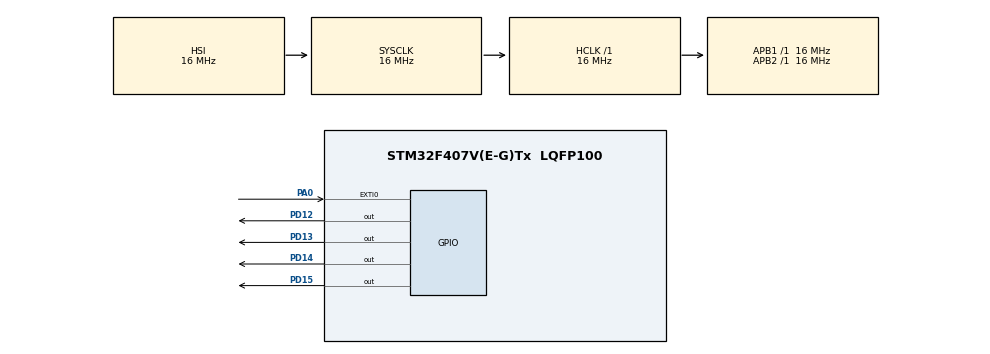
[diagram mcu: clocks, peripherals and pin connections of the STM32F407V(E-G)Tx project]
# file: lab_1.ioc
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Mcu.Family=STM32F4
PH0-OSC_IN.Signal=RCC_OSC_IN
RCC.CortexFreq_Value=16000000
ProjectManager.StackSize=0x400
PA0-WKUP.Signal=GPXTI0
PD13.Signal=GPIO_Output
ProjectManager.TargetToolchain=STM32CubeIDE
RCC.HCLKFreq_Value=16000000
RCC.APB2TimFreq_Value=16000000
RCC.LSE_VALUE=32768
RCC.AHBFreq_Value=16000000
PH0-OSC_IN.Mode=HSE-External-Oscillator
RCC.HSE_VALUE=25000000
board=custom
RCC.VCOOutputFreq_Value=192000000
RCC.APB2Freq_Value=16000000
PH1-OSC_OUT.Signal=RCC_OSC_OUT
Mcu.Name=STM32F407V(E-G)Tx
PD14.Signal=GPIO_Output
PH1-OSC_OUT.Mode=HSE-External-Oscillator
RCC.48MHZClocksFreq_Value=48000000
RCC.SYSCLKFreq_VALUE=16000000
Mcu.Package=LQFP100
PD12.Signal=GPIO_Output
ProjectManager.HeapSize=0x200
RCC.HSI_VALUE=16000000
NVIC.PriorityGroup=NVIC_PRIORITYGROUP_4
RCC.APB1TimFreq_Value=16000000
RCC.APB1Freq_Value=16000000
PD15.Signal=GPIO_Output

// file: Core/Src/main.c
/* USER CODE BEGIN Header */
/**
  ******************************************************************************
  * @file           : main.c
  * @brief          : Main program body
  ******************************************************************************
  * @attention
  *
  * <h2><center>&copy; Copyright (c) 2021 STMicroelectronics.
  * All rights reserved.</center></h2>
  *
  * This software component is licensed by ST under BSD 3-Clause license,
  * the "License"; You may not use this file except in compliance with the
  * License. You may obtain a copy of the License at:
  *                        opensource.org/licenses/BSD-3-Clause
  *
  ******************************************************************************
  */
/* USER CODE END Header */
#include "main.h"

/* USER CODE BEGIN PV */
int frequencyIndex = 0;
/* USER CODE END PV */

void SystemClock_Config(void);
static void MX_GPIO_Init(void);

/* USER CODE BEGIN 0 */

void switchFrequency(){
	if(frequencyIndex>1){
		frequencyIndex=0;
	}
	frequencyIndex++;
}

/* USER CODE END 0 */

int main(void)
{

  /* MCU Configuration--------------------------------------------------------*/

  /* Reset of all peripherals, Initializes the Flash interface and the Systick. */
  HAL_Init();

  /* Configure the system clock */
  SystemClock_Config();

  /* Initialize all configured peripherals */
  MX_GPIO_Init();
  /* USER CODE BEGIN 2 */
  int delays[2][4] = {
		  {1000,2000,3000,4000},
		  {4000,3000,2000,1000}
  };

  /* USER CODE END 2 */

  /* Infinite loop */
  /* USER CODE BEGIN WHILE */
  while (1)
  {
	  HAL_GPIO_TogglePin(GPIOD, GPIO_PIN_12);
	  HAL_Delay(delays[frequencyIndex][0]);
	  HAL_GPIO_TogglePin(GPIOD, GPIO_PIN_13);
	  HAL_Delay(delays[frequencyIndex][1]);
	  HAL_GPIO_TogglePin(GPIOD, GPIO_PIN_14);
	  HAL_Delay(delays[frequencyIndex][2]);
	  HAL_GPIO_TogglePin(GPIOD, GPIO_PIN_15);
	  HAL_Delay(delays[frequencyIndex][3]);
    /* USER CODE END WHILE */

  }
}

void SystemClock_Config(void)
{
  RCC_OscInitTypeDef RCC_OscInitStruct = {0};
  RCC_ClkInitTypeDef RCC_ClkInitStruct = {0};

  /** Configure the main internal regulator output voltage
  */
  __HAL_RCC_PWR_CLK_ENABLE();
  __HAL_PWR_VOLTAGESCALING_CONFIG(PWR_REGULATOR_VOLTAGE_SCALE1);
  /** Initializes the RCC Oscillators according to the specified parameters
  * in the RCC_OscInitTypeDef structure.
  */
  RCC_OscInitStruct.OscillatorType = RCC_OSCILLATORTYPE_HSI;
  RCC_OscInitStruct.HSIState = RCC_HSI_ON;
  RCC_OscInitStruct.HSICalibrationValue = RCC_HSICALIBRATION_DEFAULT;
  RCC_OscInitStruct.PLL.PLLState = RCC_PLL_NONE;
  if (HAL_RCC_OscConfig(&RCC_OscInitStruct) != HAL_OK)
  {
    Error_Handler();
  }
  /** Initializes the CPU, AHB and APB buses clocks
  */
  RCC_ClkInitStruct.ClockType = RCC_CLOCKTYPE_HCLK|RCC_CLOCKTYPE_SYSCLK
                              |RCC_CLOCKTYPE_PCLK1|RCC_CLOCKTYPE_PCLK2;
  RCC_ClkInitStruct.SYSCLKSource = RCC_SYSCLKSOURCE_HSI;
  RCC_ClkInitStruct.AHBCLKDivider = RCC_SYSCLK_DIV1;
  RCC_ClkInitStruct.APB1CLKDivider = RCC_HCLK_DIV1;
  RCC_ClkInitStruct.APB2CLKDivider = RCC_HCLK_DIV1;

  if (HAL_RCC_ClockConfig(&RCC_ClkInitStruct, FLASH_LATENCY_0) != HAL_OK)
  {
    Error_Handler();
  }
}

static void MX_GPIO_Init(void)
{
  GPIO_InitTypeDef GPIO_InitStruct = {0};

  /* GPIO Ports Clock Enable */
  __HAL_RCC_GPIOH_CLK_ENABLE();
  __HAL_RCC_GPIOA_CLK_ENABLE();
  __HAL_RCC_GPIOD_CLK_ENABLE();

  /*Configure GPIO pin Output Level */
  HAL_GPIO_WritePin(GPIOD, GPIO_PIN_12|GPIO_PIN_13|GPIO_PIN_14|GPIO_PIN_15, GPIO_PIN_RESET);

  /*Configure GPIO pin : PA0 */
  GPIO_InitStruct.Pin = GPIO_PIN_0;
  GPIO_InitStruct.Mode = GPIO_MODE_IT_RISING;
  GPIO_InitStruct.Pull = GPIO_NOPULL;
  HAL_GPIO_Init(GPIOA, &GPIO_InitStruct);

  /*Configure GPIO pins : PD12 PD13 PD14 PD15 */
  GPIO_InitStruct.Pin = GPIO_PIN_12|GPIO_PIN_13|GPIO_PIN_14|GPIO_PIN_15;
  GPIO_InitStruct.Mode = GPIO_MODE_OUTPUT_PP;
  GPIO_InitStruct.Pull = GPIO_NOPULL;
  GPIO_InitStruct.Speed = GPIO_SPEED_FREQ_LOW;
  HAL_GPIO_Init(GPIOD, &GPIO_InitStruct);

}

/* USER CODE BEGIN 4 */
/* Обработчик внешних прерываний */
void HAL_GPIO_EXTI_Callback(uint16_t GPIO_Pin)
{
  if (GPIO_Pin == GPIO_PIN_0)
  {
	  switchFrequency();
  }
  else
    {
      __NOP();
    }
}
/* USER CODE END 4 */

void Error_Handler(void)
{
  __disable_irq();
  while (1)
  {
  }
}

/************************ (C) COPYRIGHT STMicroelectronics *****END OF FILE****/
